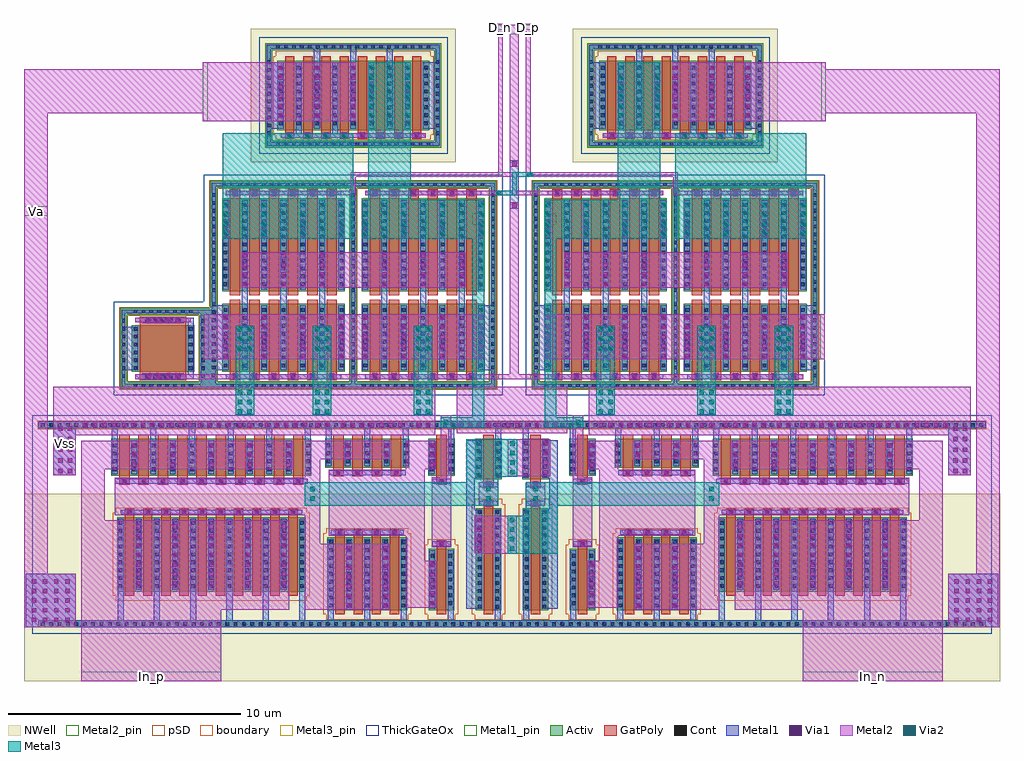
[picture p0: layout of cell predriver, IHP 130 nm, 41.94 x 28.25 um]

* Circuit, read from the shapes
.subckt predriver D_n D_p In_n In_p Iref Va Vss
XM1 In_p predriver_stage_3/dev_n_w1p75_l0p45_ng1_guard0_topc0_14/D Vss Vss sg13_hv_nmos w=1.6u l=0.45u m=10
XM2 Iref Iref Vss Vss sg13_hv_nmos w=2u l=2u
XM3 predriver_comp_1/dev_n_w4_l0p45_ng6_opens_botc0_1/B Iref Vss Vss sg13_hv_nmos w=2.92u l=0.45u m=12
XM4 predriver_comp_1/dev_n_w4_l0p45_ng6_opens_botc0_1/B D_n predriver_comp_1/dev_n_w4_l0p45_ng6_opens_botc0_1/D0 Vss sg13_hv_nmos w=4u l=0.45u m=6
XM5 predriver_stage_3/dev_n_w1p75_l0p45_ng1_guard0_topc0_14/D predriver_stage_3/dev_n_w1p6_l0p45_ng1_guard0_topc0_2/D Vss Vss sg13_hv_nmos w=1.25u l=0.45u m=4
XM6 predriver_comp_1/dev_n_w4_l0p45_ng6_opens_botc0_1/B D_p predriver_stage_3/In_p Vss sg13_hv_nmos w=4u l=0.45u m=6
XM7 Vss predriver_stage_3/In_p predriver_stage_3/dev_n_w1p6_l0p45_ng1_guard0_topc0_2/D Vss sg13_hv_nmos w=1.6u l=0.45u
XM8 Vss predriver_stage_3/dev_n_w1p75_l0p45_ng1_guard0_topc0_14/D predriver_stage_3/dev_n_w1p75_l0p45_ng1_guard0_topc0_15/D Vss sg13_hv_nmos w=1.75u l=0.45u
XM9 predriver_stage_3/dev_n_w1p75_l0p45_ng1_guard0_topc0_14/D predriver_stage_3/dev_n_w1p75_l0p45_ng1_guard0_topc0_15/D Vss Vss sg13_hv_nmos w=1.75u l=0.45u
XM10 predriver_comp_2/dev_n_w4_l0p45_ng6_opens_botc0_1/B Iref Vss Vss sg13_hv_nmos w=2.92u l=0.45u m=12
XM11 predriver_comp_2/dev_n_w4_l0p45_ng6_opens_botc0_1/B D_n predriver_stage_3/In_n Vss sg13_hv_nmos w=4u l=0.45u m=6
XM12 predriver_stage_3/dev_n_w1p6_l0p45_ng1_guard0_topc0_3/D predriver_stage_3/In_n Vss Vss sg13_hv_nmos w=1.6u l=0.45u
XM13 predriver_stage_3/dev_n_w1p75_l0p45_ng1_guard0_topc0_15/D predriver_stage_3/dev_n_w1p6_l0p45_ng1_guard0_topc0_3/D Vss Vss sg13_hv_nmos w=1.25u l=0.45u m=4
XM14 predriver_comp_2/dev_n_w4_l0p45_ng6_opens_botc0_1/B D_p predriver_comp_2/dev_n_w4_l0p45_ng6_opens_botc0_1/D0 Vss sg13_hv_nmos w=4u l=0.45u m=6
XM15 In_n predriver_stage_3/dev_n_w1p75_l0p45_ng1_guard0_topc0_15/D Vss Vss sg13_hv_nmos w=1.6u l=0.45u m=10
XM16 In_p predriver_stage_3/dev_n_w1p75_l0p45_ng1_guard0_topc0_14/D Va Va sg13_hv_pmos w=3.2u l=0.4u m=10
XM17 predriver_comp_1/dev_n_w4_l0p45_ng6_opens_botc0_1/D0 predriver_comp_1/dev_n_w4_l0p45_ng6_opens_botc0_1/D0 Va Va sg13_hv_pmos w=3u l=0.4u m=4
XM18 predriver_stage_3/dev_n_w1p75_l0p45_ng1_guard0_topc0_14/D predriver_stage_3/dev_n_w1p6_l0p45_ng1_guard0_topc0_2/D Va Va sg13_hv_pmos w=3.13u l=0.4u m=4
XM19 predriver_stage_3/In_p predriver_comp_1/dev_n_w4_l0p45_ng6_opens_botc0_1/D0 Va Va sg13_hv_pmos w=3u l=0.4u m=4
XM20 Va predriver_stage_3/In_p predriver_stage_3/dev_n_w1p6_l0p45_ng1_guard0_topc0_2/D Va sg13_hv_pmos w=2.64u l=0.4u
XM21 Va predriver_stage_3/dev_n_w1p75_l0p45_ng1_guard0_topc0_14/D predriver_stage_3/dev_n_w1p75_l0p45_ng1_guard0_topc0_15/D Va sg13_hv_pmos w=4.38u l=0.4u
XM22 predriver_stage_3/dev_n_w1p75_l0p45_ng1_guard0_topc0_14/D predriver_stage_3/dev_n_w1p75_l0p45_ng1_guard0_topc0_15/D Va Va sg13_hv_pmos w=4.38u l=0.4u
XM23 predriver_stage_3/dev_n_w1p6_l0p45_ng1_guard0_topc0_3/D predriver_stage_3/In_n Va Va sg13_hv_pmos w=2.64u l=0.4u
XM24 predriver_stage_3/In_n predriver_comp_2/dev_n_w4_l0p45_ng6_opens_botc0_1/D0 Va Va sg13_hv_pmos w=3u l=0.4u m=4
XM25 predriver_stage_3/dev_n_w1p75_l0p45_ng1_guard0_topc0_15/D predriver_stage_3/dev_n_w1p6_l0p45_ng1_guard0_topc0_3/D Va Va sg13_hv_pmos w=3.13u l=0.4u m=4
XM26 predriver_comp_2/dev_n_w4_l0p45_ng6_opens_botc0_1/D0 predriver_comp_2/dev_n_w4_l0p45_ng6_opens_botc0_1/D0 Va Va sg13_hv_pmos w=3u l=0.4u m=4
XM27 In_n predriver_stage_3/dev_n_w1p75_l0p45_ng1_guard0_topc0_15/D Va Va sg13_hv_pmos w=3.2u l=0.4u m=10
.ends

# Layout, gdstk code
from math import pi, radians
import gdstk
lib = gdstk.Library(unit=1e-6, precision=1e-09)
def R(c, l, rs):  # rectangles x0, y0, x1, y1
    for r in rs: c.add(gdstk.rectangle(r[:2], r[2:], *l))
def A(c, l, x, y, w, h, nx, ny, dx, dy):  # array of equal rectangles
    R(c, l, [(x+i*dx, y+j*dy, x+i*dx+w, y+j*dy+h) for i in range(nx) for j in range(ny)])
def P(c, l, *ps):  # polygons
    for p in ps: c.add(gdstk.Polygon(p, *l))
Activ = (1, 0)
GatPoly = (5, 0)
Cont = (6, 0)
Metal1 = (8, 0)
Metal1_pin = (8, 2)
Metal2 = (10, 0)
Metal2_pin = (10, 2)
pSD = (14, 0)
Via1 = (19, 0)
Via2 = (29, 0)
Metal3 = (30, 0)
Metal3_pin = (30, 2)
NWell = (31, 0)
ThickGateOx = (44, 0)
boundary = (189, 4)

dev_n_w2_l2_ng1 = lib.new_cell('dev_n_w2_l2_ng1')
R(dev_n_w2_l2_ng1, Activ, [(-1.85,-1.74,1.85,-1.44), (-1.85,-1.44,-1.55,1.44), (1.55,-1.44,1.85,1.44), (-1.34,-1,1.34,1), (-1.85,1.44,1.85,1.74)])
R(dev_n_w2_l2_ng1, GatPoly, [(-1,-1.37,1,1.37)])
A(dev_n_w2_l2_ng1, Cont, -1.27, -1.67, 0.16, 0.16, 8, 2, 0.34, 3.18)
A(dev_n_w2_l2_ng1, Cont, -0.76, -1.3, 0.16, 0.16, 5, 2, 0.34, 2.44)
A(dev_n_w2_l2_ng1, Cont, -1.78, -1.27, 0.16, 0.16, 1, 8, 0, 0.34)
A(dev_n_w2_l2_ng1, Cont, 1.62, -1.27, 0.16, 0.16, 1, 8, 0, 0.34)
A(dev_n_w2_l2_ng1, Cont, -1.27, -0.93, 0.16, 0.16, 1, 6, 0, 0.34)
A(dev_n_w2_l2_ng1, Cont, 1.11, -0.93, 0.16, 0.16, 1, 6, 0, 0.34)
R(dev_n_w2_l2_ng1, Metal1, [(-1.78,-1.67,1.78,-1.51), (-1.78,-1.51,-1.62,1.51), (1.62,-1.51,1.78,1.51), (-1.19,-1.325,1.19,-1.115), (-1.32,-0.93,-1.06,0.93), (1.06,-0.93,1.32,0.93), (-1.19,1.115,1.19,1.325), (-1.78,1.51,1.78,1.67)])
R(dev_n_w2_l2_ng1, Metal2, [(-0.89,-1.365,0.89,-1.32), (-1.19,-1.32,1.19,-1.12), (-0.89,-1.12,0.89,-1.075), (-0.89,1.075,0.89,1.12), (-1.19,1.12,1.19,1.32), (-0.89,1.32,0.89,1.365)])
R(dev_n_w2_l2_ng1, pSD, [(-1.88,-1.77,1.88,-1.41), (-1.88,-1.41,-1.52,1.41), (1.52,-1.41,1.88,1.41), (-1.88,1.41,1.88,1.77)])
A(dev_n_w2_l2_ng1, Via1, -0.71, -1.315, 0.19, 0.19, 4, 2, 0.41, 2.44)
R(dev_n_w2_l2_ng1, ThickGateOx, [(-2.12,-2.01,2.12,2.01)])
R(dev_n_w2_l2_ng1, boundary, [(-1.7,-1.59,1.7,1.59)])
dev_n_w2_l2_ng1.add(gdstk.Label('B', (0,-1.59), layer=8, texttype=25))
dev_n_w2_l2_ng1.add(gdstk.Label('D', (-1.19,0), layer=8, texttype=25))
dev_n_w2_l2_ng1.add(gdstk.Label('S', (1.19,0), layer=8, texttype=25))
dev_n_w2_l2_ng1.add(gdstk.Label('G', (0,1.22), layer=8, texttype=25))

dev_p_w3_l0p4_ng8_topc0 = lib.new_cell('dev_p_w3_l0p4_ng8_topc0')
R(dev_p_w3_l0p4_ng8_topc0, Activ, [(-3.78,-2.24,3.78,-1.94), (-3.78,-1.94,-3.48,1.94), (3.48,-1.94,3.78,1.94), (-3.27,-1.5,3.27,1.5), (-3.78,1.94,3.78,2.24)])
A(dev_p_w3_l0p4_ng8_topc0, GatPoly, -2.93, -1.87, 0.4, 3.55, 8, 1, 0.78, 0)
A(dev_p_w3_l0p4_ng8_topc0, Cont, -3.31, -2.17, 0.16, 0.16, 20, 2, 0.34, 4.18)
A(dev_p_w3_l0p4_ng8_topc0, Cont, -2.81, -1.8, 0.16, 0.16, 8, 1, 0.78, 0)
A(dev_p_w3_l0p4_ng8_topc0, Cont, -3.71, -1.705, 0.16, 0.16, 1, 10, 0, 0.34)
A(dev_p_w3_l0p4_ng8_topc0, Cont, 3.55, -1.705, 0.16, 0.16, 1, 10, 0, 0.34)
A(dev_p_w3_l0p4_ng8_topc0, Cont, -3.2, -1.27, 0.16, 0.16, 9, 8, 0.78, 0.34)
A(dev_p_w3_l0p4_ng8_topc0, Metal1, -3.25, -1.43, 0.26, 2.86, 9, 1, 0.78, 0)
R(dev_p_w3_l0p4_ng8_topc0, Metal1, [(-3.71,-2.17,3.71,-2.01), (-3.71,-2.01,-3.55,2.01), (3.55,-2.01,3.71,2.01), (-3.12,-1.825,3.12,-1.615), (-3.71,2.01,3.71,2.17)])
A(dev_p_w3_l0p4_ng8_topc0, Metal2, -2.86, -1.865, 0.26, 0.045, 8, 2, 0.78, 0.245)
R(dev_p_w3_l0p4_ng8_topc0, Metal2, [(-3.12,-1.82,3.12,-1.62)])
R(dev_p_w3_l0p4_ng8_topc0, pSD, [(-3.33,-1.9,3.33,-1.68), (-3.45,-1.68,3.45,1.68), (-3.33,1.68,3.33,1.9)])
A(dev_p_w3_l0p4_ng8_topc0, Via1, -2.825, -1.815, 0.19, 0.19, 8, 1, 0.78, 0)
R(dev_p_w3_l0p4_ng8_topc0, NWell, [(-4.4,-2.86,4.4,2.86)])
R(dev_p_w3_l0p4_ng8_topc0, ThickGateOx, [(-4.05,-2.51,4.05,2.51)])
dev_p_w3_l0p4_ng8_topc0.add(gdstk.Label('B', (0,-2.09), layer=8, texttype=25))
dev_p_w3_l0p4_ng8_topc0.add(gdstk.Label('D0', (-3.12,0), layer=8, texttype=25))
dev_p_w3_l0p4_ng8_topc0.add(gdstk.Label('G', (2.73,-1.72), layer=8, texttype=25))
dev_p_w3_l0p4_ng8_topc0.add(gdstk.Label('G', (1.95,-1.72), layer=8, texttype=25))
dev_p_w3_l0p4_ng8_topc0.add(gdstk.Label('G', (1.17,-1.72), layer=8, texttype=25))
dev_p_w3_l0p4_ng8_topc0.add(gdstk.Label('G', (0.39,-1.72), layer=8, texttype=25))
dev_p_w3_l0p4_ng8_topc0.add(gdstk.Label('G', (-0.39,-1.72), layer=8, texttype=25))
dev_p_w3_l0p4_ng8_topc0.add(gdstk.Label('G', (-1.17,-1.72), layer=8, texttype=25))
dev_p_w3_l0p4_ng8_topc0.add(gdstk.Label('G', (-1.95,-1.72), layer=8, texttype=25))
dev_p_w3_l0p4_ng8_topc0.add(gdstk.Label('G', (-2.73,-1.72), layer=8, texttype=25))
dev_p_w3_l0p4_ng8_topc0.add(gdstk.Label('S1', (-2.34,0), layer=8, texttype=25))
dev_p_w3_l0p4_ng8_topc0.add(gdstk.Label('D2', (-1.56,0), layer=8, texttype=25))
dev_p_w3_l0p4_ng8_topc0.add(gdstk.Label('S3', (-0.78,0), layer=8, texttype=25))
dev_p_w3_l0p4_ng8_topc0.add(gdstk.Label('D4', (0,0), layer=8, texttype=25))
dev_p_w3_l0p4_ng8_topc0.add(gdstk.Label('S5', (0.78,0), layer=8, texttype=25))
dev_p_w3_l0p4_ng8_topc0.add(gdstk.Label('D6', (1.56,0), layer=8, texttype=25))
dev_p_w3_l0p4_ng8_topc0.add(gdstk.Label('S7', (2.34,0), layer=8, texttype=25))

dev_n_w4_l0p45_ng6_opens = lib.new_cell('dev_n_w4_l0p45_ng6_opens_botc0')
R(dev_n_w4_l0p45_ng6_opens, Activ, [(-3.15,-2.44,-2.85,2.44), (2.85,-2.44,3.15,2.44), (-2.64,-2,2.64,2), (-3.15,2.44,3.15,2.74)])
A(dev_n_w4_l0p45_ng6_opens, GatPoly, -2.3, -2.18, 0.45, 4.55, 6, 1, 0.83, 0)
A(dev_n_w4_l0p45_ng6_opens, Cont, -3.08, -2.025, 0.16, 0.16, 1, 13, 0, 0.34)
A(dev_n_w4_l0p45_ng6_opens, Cont, 2.92, -2.025, 0.16, 0.16, 1, 13, 0, 0.34)
A(dev_n_w4_l0p45_ng6_opens, Cont, -2.57, -1.78, 0.16, 0.16, 7, 11, 0.83, 0.34)
A(dev_n_w4_l0p45_ng6_opens, Cont, -2.155, 2.14, 0.16, 0.16, 6, 1, 0.83, 0)
A(dev_n_w4_l0p45_ng6_opens, Cont, -2.63, 2.51, 0.16, 0.16, 16, 1, 0.34, 0)
A(dev_n_w4_l0p45_ng6_opens, Metal1, -2.62, -1.93, 0.26, 3.86, 7, 1, 0.83, 0)
R(dev_n_w4_l0p45_ng6_opens, Metal1, [(-3.08,-2.44,-2.92,2.51), (2.92,-2.44,3.08,2.51), (-2.49,2.115,2.49,2.325), (-3.08,2.51,3.08,2.67)])
A(dev_n_w4_l0p45_ng6_opens, Metal2, -2.19, 2.075, 0.23, 0.045, 6, 2, 0.83, 0.245)
R(dev_n_w4_l0p45_ng6_opens, Metal2, [(-2.49,2.12,2.49,2.32)])
R(dev_n_w4_l0p45_ng6_opens, pSD, [(-3.18,-2.47,-2.82,2.41), (2.82,-2.47,3.18,2.41), (-3.18,2.41,3.18,2.77)])
A(dev_n_w4_l0p45_ng6_opens, Via1, -2.17, 2.125, 0.19, 0.19, 6, 1, 0.83, 0)
R(dev_n_w4_l0p45_ng6_opens, ThickGateOx, [(-3.43,-2.855,-2.57,-2.27), (2.57,-2.855,3.43,-2.27), (-3.43,-2.27,3.43,-1.995), (-3.42,-1.995,3.42,3.01)])
dev_n_w4_l0p45_ng6_opens.add(gdstk.Label('B', (0,-2.59), layer=8, texttype=25))
dev_n_w4_l0p45_ng6_opens.add(gdstk.Label('D0', (-2.49,0), layer=8, texttype=25))
dev_n_w4_l0p45_ng6_opens.add(gdstk.Label('G', (2.075,2.22), layer=8, texttype=25))
dev_n_w4_l0p45_ng6_opens.add(gdstk.Label('G', (1.245,2.22), layer=8, texttype=25))
dev_n_w4_l0p45_ng6_opens.add(gdstk.Label('G', (0.415,2.22), layer=8, texttype=25))
dev_n_w4_l0p45_ng6_opens.add(gdstk.Label('G', (-0.415,2.22), layer=8, texttype=25))
dev_n_w4_l0p45_ng6_opens.add(gdstk.Label('G', (-1.245,2.22), layer=8, texttype=25))
dev_n_w4_l0p45_ng6_opens.add(gdstk.Label('G', (-2.075,2.22), layer=8, texttype=25))
dev_n_w4_l0p45_ng6_opens.add(gdstk.Label('S1', (-1.66,0), layer=8, texttype=25))
dev_n_w4_l0p45_ng6_opens.add(gdstk.Label('D2', (-0.83,0), layer=8, texttype=25))
dev_n_w4_l0p45_ng6_opens.add(gdstk.Label('S3', (0,0), layer=8, texttype=25))
dev_n_w4_l0p45_ng6_opens.add(gdstk.Label('D4', (0.83,0), layer=8, texttype=25))
dev_n_w4_l0p45_ng6_opens.add(gdstk.Label('S5', (1.66,0), layer=8, texttype=25))

dev_n_w2p92_l0p45_ng6_op = lib.new_cell('dev_n_w2p92_l0p45_ng6_openn_topc0')
R(dev_n_w2p92_l0p45_ng6_op, Activ, [(-3.15,-2.2,3.15,-1.9), (-3.15,-1.9,-2.85,1.9), (2.85,-1.9,3.15,1.9), (-2.64,-1.46,2.64,1.46)])
A(dev_n_w2p92_l0p45_ng6_op, GatPoly, -2.3, -1.83, 0.45, 3.47, 6, 1, 0.83, 0)
A(dev_n_w2p92_l0p45_ng6_op, Cont, -2.63, -2.13, 0.16, 0.16, 16, 1, 0.34, 0)
A(dev_n_w2p92_l0p45_ng6_op, Cont, -2.155, -1.76, 0.16, 0.16, 6, 1, 0.83, 0)
A(dev_n_w2p92_l0p45_ng6_op, Cont, -3.08, -1.705, 0.16, 0.16, 1, 10, 0, 0.34)
A(dev_n_w2p92_l0p45_ng6_op, Cont, 2.92, -1.705, 0.16, 0.16, 1, 10, 0, 0.34)
A(dev_n_w2p92_l0p45_ng6_op, Cont, -2.57, -1.27, 0.16, 0.16, 7, 8, 0.83, 0.34)
A(dev_n_w2p92_l0p45_ng6_op, Metal1, -2.62, -1.39, 0.26, 2.78, 7, 1, 0.83, 0)
R(dev_n_w2p92_l0p45_ng6_op, Metal1, [(-3.08,-2.13,3.08,-1.97), (-3.08,-1.97,-2.92,1.9), (2.92,-1.97,3.08,1.9), (-2.49,-1.785,2.49,-1.575)])
A(dev_n_w2p92_l0p45_ng6_op, Metal2, -2.19, -1.825, 0.23, 0.045, 6, 2, 0.83, 0.245)
R(dev_n_w2p92_l0p45_ng6_op, Metal2, [(-2.49,-1.78,2.49,-1.58)])
R(dev_n_w2p92_l0p45_ng6_op, pSD, [(-3.18,-2.23,3.18,-1.87), (-3.18,-1.87,-2.82,1.93), (2.82,-1.87,3.18,1.93)])
A(dev_n_w2p92_l0p45_ng6_op, Via1, -2.17, -1.775, 0.19, 0.19, 6, 1, 0.83, 0)
R(dev_n_w2p92_l0p45_ng6_op, ThickGateOx, [(-3.42,-2.47,3.42,1.455), (-3.43,1.455,3.43,1.73), (-3.43,1.73,-2.57,2.315), (2.57,1.73,3.43,2.315)])
dev_n_w2p92_l0p45_ng6_op.add(gdstk.Label('B', (0,-2.05), layer=8, texttype=25))
dev_n_w2p92_l0p45_ng6_op.add(gdstk.Label('D0', (-2.49,0), layer=8, texttype=25))
dev_n_w2p92_l0p45_ng6_op.add(gdstk.Label('G', (2.075,-1.68), layer=8, texttype=25))
dev_n_w2p92_l0p45_ng6_op.add(gdstk.Label('G', (1.245,-1.68), layer=8, texttype=25))
dev_n_w2p92_l0p45_ng6_op.add(gdstk.Label('G', (0.415,-1.68), layer=8, texttype=25))
dev_n_w2p92_l0p45_ng6_op.add(gdstk.Label('G', (-0.415,-1.68), layer=8, texttype=25))
dev_n_w2p92_l0p45_ng6_op.add(gdstk.Label('G', (-1.245,-1.68), layer=8, texttype=25))
dev_n_w2p92_l0p45_ng6_op.add(gdstk.Label('G', (-2.075,-1.68), layer=8, texttype=25))
dev_n_w2p92_l0p45_ng6_op.add(gdstk.Label('S1', (-1.66,0), layer=8, texttype=25))
dev_n_w2p92_l0p45_ng6_op.add(gdstk.Label('D2', (-0.83,0), layer=8, texttype=25))
dev_n_w2p92_l0p45_ng6_op.add(gdstk.Label('S3', (0,0), layer=8, texttype=25))
dev_n_w2p92_l0p45_ng6_op.add(gdstk.Label('D4', (0.83,0), layer=8, texttype=25))
dev_n_w2p92_l0p45_ng6_op.add(gdstk.Label('S5', (1.66,0), layer=8, texttype=25))

predriver_comp = lib.new_cell('predriver_comp')
A(predriver_comp, Metal1, 1.67, 3.9, 0.26, 0.68, 3, 1, 1.66, 0)
A(predriver_comp, Metal1, 7.67, 3.9, 0.26, 0.68, 3, 1, 1.66, 0)
A(predriver_comp, Metal1, 4.77, 14.35, 0.26, 0.58, 3, 1, 1.56, 0)
R(predriver_comp, Metal1, [(0.54,1.12,0.84,3.9), (12.08,1.12,12.38,3.9), (3.99,11.305,4.25,11.49), (5.55,11.305,5.81,11.49), (2.91,11.49,3.21,14.35), (9.71,11.49,10.01,14.35)])
A(predriver_comp, Metal2, 0.84, 6.805, 0.26, 1.6, 4, 1, 1.66, 0)
A(predriver_comp, Metal2, 6.84, 6.805, 0.26, 1.6, 3, 1, 1.66, 0)
R(predriver_comp, Metal2, [(5.95,0.73,6.97,0.93), (0.04,1.585,0.825,3.515), (0.825,1.585,12.095,3.515), (1.655,4.665,11.265,6.185), (11.82,6.83,12.08,8.38), (0,11.82,2.41,14.355), (2.41,11.82,6.59,14.35), (7.11,11.82,7.37,14.35), (8.67,11.82,8.93,14.35)])
R(predriver_comp, Metal2_pin, [(12.68,0.73,12.88,0.93), (0.04,1.585,0.24,3.515), (12.68,8.63,12.88,8.83), (12.68,9.42,12.88,9.62), (0,11.82,0.2,14.35)])
A(predriver_comp, Via1, 0.875, 1.635, 0.19, 0.19, 4, 5, 1.66, 0.41)
A(predriver_comp, Via1, 6.875, 1.635, 0.19, 0.19, 4, 5, 1.66, 0.41)
A(predriver_comp, Via1, 1.705, 4.715, 0.19, 0.19, 3, 4, 1.66, 0.41)
A(predriver_comp, Via1, 7.705, 4.715, 0.19, 0.19, 3, 4, 1.66, 0.41)
A(predriver_comp, Via1, 0.875, 6.885, 0.19, 0.19, 4, 4, 1.66, 0.41)
A(predriver_comp, Via1, 6.875, 6.885, 0.19, 0.19, 4, 4, 1.66, 0.41)
A(predriver_comp, Via1, 3.245, 11.965, 0.19, 0.19, 3, 6, 1.56, 0.41)
A(predriver_comp, Via1, 7.145, 11.965, 0.19, 0.19, 1, 6, 0, 0.41)
A(predriver_comp, Via1, 8.705, 11.965, 0.19, 0.19, 1, 6, 0, 0.41)
A(predriver_comp, Via2, 0.875, 6.885, 0.19, 0.19, 4, 4, 1.66, 0.41)
A(predriver_comp, Via2, 6.875, 6.885, 0.19, 0.19, 4, 4, 1.66, 0.41)
A(predriver_comp, Via2, 3.635, 11.105, 0.19, 0.19, 4, 1, 0.78, 0)
A(predriver_comp, Via2, 7.145, 11.965, 0.19, 0.19, 1, 6, 0, 0.41)
A(predriver_comp, Via2, 8.705, 11.965, 0.19, 0.19, 1, 6, 0, 0.41)
R(predriver_comp, Metal3, [(0.84,6.77,6.455,11.3), (6.84,6.77,12.08,8.44), (7.11,8.28,8.93,11.82), (7.11,11.82,8.93,14.35)])
R(predriver_comp, Metal3_pin, [(11.58,7.355,12.08,7.855)])
predriver_comp.add(gdstk.FlexPath([(5.95,8.73),(6.46,8.73),(6.46,9.52),(12.88,9.52),(12.88,9.52)], 0.2, ends="flush", simple_path=True, layer=10, datatype=0))  # Metal2
predriver_comp.add(gdstk.FlexPath([(11.95,8.73),(12.88,8.73)], 0.2, ends="flush", simple_path=True, layer=10, datatype=0))  # Metal2
predriver_comp.add(gdstk.FlexPath([(11.95,0.83),(12.88,0.83)], 0.2, ends="flush", simple_path=True, layer=10, datatype=0))  # Metal2
predriver_comp.add(gdstk.Reference(dev_p_w3_l0p4_ng8_topc0, (6.46,12.92)))
predriver_comp.add(gdstk.Reference(dev_n_w4_l0p45_ng6_opens, (3.46,6.51)))
predriver_comp.add(gdstk.Reference(dev_n_w4_l0p45_ng6_opens, (9.46,6.51), rotation=pi, x_reflection=True))
predriver_comp.add(gdstk.Reference(dev_n_w2p92_l0p45_ng6_op, (3.46,2.51)))
predriver_comp.add(gdstk.Reference(dev_n_w2p92_l0p45_ng6_op, (9.46,2.51), rotation=pi, x_reflection=True))
predriver_comp.add(gdstk.Label('Din', (12.78,9.52), layer=10, texttype=25))
predriver_comp.add(gdstk.Label('Gin', (12.78,8.73), layer=10, texttype=25))
predriver_comp.add(gdstk.Label('Iref', (12.78,0.83), layer=10, texttype=25))
predriver_comp.add(gdstk.Label('Va', (0.1,13.085), layer=10, texttype=25))
predriver_comp.add(gdstk.Label('Vss', (0.14,2.55), layer=10, texttype=25))
predriver_comp.add(gdstk.Label('Out', (11.83,7.605), layer=30, texttype=25))

dev_p_w2p64_l0p4_ng1_bot = lib.new_cell('dev_p_w2p64_l0p4_ng1_botc0_guard0')
R(dev_p_w2p64_l0p4_ng1_bot, Activ, [(-0.54,-1.415,0.54,1.225)])
R(dev_p_w2p64_l0p4_ng1_bot, GatPoly, [(-0.2,-1.595,0.2,1.595)])
A(dev_p_w2p64_l0p4_ng1_bot, Cont, -0.47, -1.195, 0.16, 0.16, 1, 7, 0, 0.34)
A(dev_p_w2p64_l0p4_ng1_bot, Cont, 0.31, -1.195, 0.16, 0.16, 1, 7, 0, 0.34)
R(dev_p_w2p64_l0p4_ng1_bot, Cont, [(-0.08,1.365,0.08,1.525)])
R(dev_p_w2p64_l0p4_ng1_bot, Metal1, [(-0.52,-1.345,-0.26,1.155), (0.26,-1.345,0.52,1.155), (-0.39,1.34,0.39,1.55)])
R(dev_p_w2p64_l0p4_ng1_bot, Metal2, [(-0.13,1.3,0.13,1.345), (-0.39,1.345,0.39,1.545), (-0.13,1.545,0.13,1.59)])
R(dev_p_w2p64_l0p4_ng1_bot, pSD, [(-0.6,-1.815,0.6,-1.595), (-0.72,-1.595,0.72,1.405), (-0.6,1.405,0.6,1.625)])
R(dev_p_w2p64_l0p4_ng1_bot, Via1, [(-0.095,1.35,0.095,1.54)])
R(dev_p_w2p64_l0p4_ng1_bot, NWell, [(-1.16,-2.035,1.16,1.845)])
R(dev_p_w2p64_l0p4_ng1_bot, ThickGateOx, [(-0.81,-1.685,0.81,1.495)])
dev_p_w2p64_l0p4_ng1_bot.add(gdstk.Label('D', (-0.39,-0.095), layer=8, texttype=25))
dev_p_w2p64_l0p4_ng1_bot.add(gdstk.Label('S', (0.39,-0.095), layer=8, texttype=25))
dev_p_w2p64_l0p4_ng1_bot.add(gdstk.Label('G', (0,1.445), layer=8, texttype=25))

dev_n_w1p6_l0p45_ng1_gua = lib.new_cell('dev_n_w1p6_l0p45_ng1_guard0_topc0')
R(dev_n_w1p6_l0p45_ng1_gua, Activ, [(-0.565,-0.705,0.565,0.895)])
R(dev_n_w1p6_l0p45_ng1_gua, GatPoly, [(-0.225,-1.075,0.225,1.075)])
A(dev_n_w1p6_l0p45_ng1_gua, Cont, -0.495, -0.495, 0.16, 0.16, 1, 4, 0, 0.34)
A(dev_n_w1p6_l0p45_ng1_gua, Cont, 0.335, -0.495, 0.16, 0.16, 1, 4, 0, 0.34)
R(dev_n_w1p6_l0p45_ng1_gua, Cont, [(-0.08,-1.005,0.08,-0.845)])
R(dev_n_w1p6_l0p45_ng1_gua, Metal1, [(-0.415,-1.03,0.415,-0.82), (-0.545,-0.635,-0.285,0.825), (0.285,-0.635,0.545,0.825)])
R(dev_n_w1p6_l0p45_ng1_gua, Metal2, [(-0.115,-1.07,0.115,-1.025), (-0.415,-1.025,0.415,-0.825), (-0.115,-0.825,0.115,-0.78)])
R(dev_n_w1p6_l0p45_ng1_gua, Via1, [(-0.095,-1.02,0.095,-0.83)])
R(dev_n_w1p6_l0p45_ng1_gua, ThickGateOx, [(-0.835,-0.975,0.835,1.165)])
dev_n_w1p6_l0p45_ng1_gua.add(gdstk.Label('D', (-0.415,0.095), layer=8, texttype=25))
dev_n_w1p6_l0p45_ng1_gua.add(gdstk.Label('S', (0.415,0.095), layer=8, texttype=25))
dev_n_w1p6_l0p45_ng1_gua.add(gdstk.Label('G', (0,-0.925), layer=8, texttype=25))

dev_p_w3p13_l0p4_ng4_bot = lib.new_cell('dev_p_w3p13_l0p4_ng4_botc0_guard0')
R(dev_p_w3p13_l0p4_ng4_bot, Activ, [(-1.71,-1.66,1.71,1.47)])
A(dev_p_w3p13_l0p4_ng4_bot, GatPoly, -1.37, -1.84, 0.4, 3.68, 4, 1, 0.78, 0)
A(dev_p_w3p13_l0p4_ng4_bot, Cont, -1.64, -1.535, 0.16, 0.16, 5, 9, 0.78, 0.34)
A(dev_p_w3p13_l0p4_ng4_bot, Cont, -1.25, 1.61, 0.16, 0.16, 4, 1, 0.78, 0)
A(dev_p_w3p13_l0p4_ng4_bot, Metal1, -1.69, -1.59, 0.26, 2.99, 5, 1, 0.78, 0)
R(dev_p_w3p13_l0p4_ng4_bot, Metal1, [(-1.56,1.585,1.56,1.795)])
A(dev_p_w3p13_l0p4_ng4_bot, Metal2, -1.3, 1.545, 0.26, 0.045, 4, 2, 0.78, 0.245)
R(dev_p_w3p13_l0p4_ng4_bot, Metal2, [(-1.56,1.59,1.56,1.79)])
R(dev_p_w3p13_l0p4_ng4_bot, pSD, [(-1.77,-2.06,1.77,-1.84), (-1.89,-1.84,1.89,1.65), (-1.77,1.65,1.77,1.87)])
A(dev_p_w3p13_l0p4_ng4_bot, Via1, -1.265, 1.595, 0.19, 0.19, 4, 1, 0.78, 0)
R(dev_p_w3p13_l0p4_ng4_bot, NWell, [(-2.33,-2.28,2.33,2.09)])
R(dev_p_w3p13_l0p4_ng4_bot, ThickGateOx, [(-1.98,-1.93,1.98,1.74)])
dev_p_w3p13_l0p4_ng4_bot.add(gdstk.Label('D0', (-1.56,-0.095), layer=8, texttype=25))
dev_p_w3p13_l0p4_ng4_bot.add(gdstk.Label('G', (1.17,1.69), layer=8, texttype=25))
dev_p_w3p13_l0p4_ng4_bot.add(gdstk.Label('G', (0.39,1.69), layer=8, texttype=25))
dev_p_w3p13_l0p4_ng4_bot.add(gdstk.Label('G', (-0.39,1.69), layer=8, texttype=25))
dev_p_w3p13_l0p4_ng4_bot.add(gdstk.Label('G', (-1.17,1.69), layer=8, texttype=25))
dev_p_w3p13_l0p4_ng4_bot.add(gdstk.Label('S1', (-0.78,-0.095), layer=8, texttype=25))
dev_p_w3p13_l0p4_ng4_bot.add(gdstk.Label('D2', (0,-0.095), layer=8, texttype=25))
dev_p_w3p13_l0p4_ng4_bot.add(gdstk.Label('S3', (0.78,-0.095), layer=8, texttype=25))

dev_n_w1p25_l0p45_ng4_gu = lib.new_cell('dev_n_w1p25_l0p45_ng4_guard0_topc0')
R(dev_n_w1p25_l0p45_ng4_gu, Activ, [(-1.81,-0.53,1.81,0.72)])
A(dev_n_w1p25_l0p45_ng4_gu, GatPoly, -1.47, -0.9, 0.45, 1.8, 4, 1, 0.83, 0)
A(dev_n_w1p25_l0p45_ng4_gu, Cont, -1.325, -0.83, 0.16, 0.16, 4, 1, 0.83, 0)
A(dev_n_w1p25_l0p45_ng4_gu, Cont, -1.74, -0.325, 0.16, 0.16, 5, 3, 0.83, 0.34)
A(dev_n_w1p25_l0p45_ng4_gu, Metal1, -1.79, -0.46, 0.26, 1.11, 5, 1, 0.83, 0)
R(dev_n_w1p25_l0p45_ng4_gu, Metal1, [(-1.66,-0.855,1.66,-0.645)])
A(dev_n_w1p25_l0p45_ng4_gu, Metal2, -1.36, -0.895, 0.23, 0.045, 4, 2, 0.83, 0.245)
R(dev_n_w1p25_l0p45_ng4_gu, Metal2, [(-1.66,-0.85,1.66,-0.65)])
A(dev_n_w1p25_l0p45_ng4_gu, Via1, -1.34, -0.845, 0.19, 0.19, 4, 1, 0.83, 0)
R(dev_n_w1p25_l0p45_ng4_gu, ThickGateOx, [(-2.08,-0.8,2.08,0.99)])
dev_n_w1p25_l0p45_ng4_gu.add(gdstk.Label('D0', (-1.66,0.095), layer=8, texttype=25))
dev_n_w1p25_l0p45_ng4_gu.add(gdstk.Label('G', (1.245,-0.75), layer=8, texttype=25))
dev_n_w1p25_l0p45_ng4_gu.add(gdstk.Label('G', (0.415,-0.75), layer=8, texttype=25))
dev_n_w1p25_l0p45_ng4_gu.add(gdstk.Label('G', (-0.415,-0.75), layer=8, texttype=25))
dev_n_w1p25_l0p45_ng4_gu.add(gdstk.Label('G', (-1.245,-0.75), layer=8, texttype=25))
dev_n_w1p25_l0p45_ng4_gu.add(gdstk.Label('S1', (-0.83,0.095), layer=8, texttype=25))
dev_n_w1p25_l0p45_ng4_gu.add(gdstk.Label('D2', (0,0.095), layer=8, texttype=25))
dev_n_w1p25_l0p45_ng4_gu.add(gdstk.Label('S3', (0.83,0.095), layer=8, texttype=25))

dev_p_w3p2_l0p4_ng10_bot = lib.new_cell('dev_p_w3p2_l0p4_ng10_botc0_guard0')
R(dev_p_w3p2_l0p4_ng10_bot, Activ, [(-4.05,-1.695,4.05,1.505)])
A(dev_p_w3p2_l0p4_ng10_bot, GatPoly, -3.71, -1.875, 0.4, 3.75, 10, 1, 0.78, 0)
A(dev_p_w3p2_l0p4_ng10_bot, Cont, -3.98, -1.535, 0.16, 0.16, 11, 9, 0.78, 0.34)
A(dev_p_w3p2_l0p4_ng10_bot, Cont, -3.59, 1.645, 0.16, 0.16, 10, 1, 0.78, 0)
A(dev_p_w3p2_l0p4_ng10_bot, Metal1, -4.03, -1.625, 0.26, 3.06, 11, 1, 0.78, 0)
R(dev_p_w3p2_l0p4_ng10_bot, Metal1, [(-3.9,1.62,3.9,1.83)])
A(dev_p_w3p2_l0p4_ng10_bot, Metal2, -3.64, 1.58, 0.26, 0.045, 10, 2, 0.78, 0.245)
R(dev_p_w3p2_l0p4_ng10_bot, Metal2, [(-3.9,1.625,3.9,1.825)])
R(dev_p_w3p2_l0p4_ng10_bot, pSD, [(-4.11,-2.095,4.11,-1.875), (-4.23,-1.875,4.23,1.685), (-4.11,1.685,4.11,1.905)])
A(dev_p_w3p2_l0p4_ng10_bot, Via1, -3.605, 1.63, 0.19, 0.19, 10, 1, 0.78, 0)
R(dev_p_w3p2_l0p4_ng10_bot, NWell, [(-4.67,-2.315,4.67,2.125)])
R(dev_p_w3p2_l0p4_ng10_bot, ThickGateOx, [(-4.32,-1.965,4.32,1.775)])
dev_p_w3p2_l0p4_ng10_bot.add(gdstk.Label('D0', (-3.9,-0.095), layer=8, texttype=25))
dev_p_w3p2_l0p4_ng10_bot.add(gdstk.Label('G', (3.51,1.725), layer=8, texttype=25))
dev_p_w3p2_l0p4_ng10_bot.add(gdstk.Label('G', (2.73,1.725), layer=8, texttype=25))
dev_p_w3p2_l0p4_ng10_bot.add(gdstk.Label('G', (1.95,1.725), layer=8, texttype=25))
dev_p_w3p2_l0p4_ng10_bot.add(gdstk.Label('G', (1.17,1.725), layer=8, texttype=25))
dev_p_w3p2_l0p4_ng10_bot.add(gdstk.Label('G', (0.39,1.725), layer=8, texttype=25))
dev_p_w3p2_l0p4_ng10_bot.add(gdstk.Label('G', (-0.39,1.725), layer=8, texttype=25))
dev_p_w3p2_l0p4_ng10_bot.add(gdstk.Label('G', (-1.17,1.725), layer=8, texttype=25))
dev_p_w3p2_l0p4_ng10_bot.add(gdstk.Label('G', (-1.95,1.725), layer=8, texttype=25))
dev_p_w3p2_l0p4_ng10_bot.add(gdstk.Label('G', (-2.73,1.725), layer=8, texttype=25))
dev_p_w3p2_l0p4_ng10_bot.add(gdstk.Label('G', (-3.51,1.725), layer=8, texttype=25))
dev_p_w3p2_l0p4_ng10_bot.add(gdstk.Label('S1', (-3.12,-0.095), layer=8, texttype=25))
dev_p_w3p2_l0p4_ng10_bot.add(gdstk.Label('D2', (-2.34,-0.095), layer=8, texttype=25))
dev_p_w3p2_l0p4_ng10_bot.add(gdstk.Label('S3', (-1.56,-0.095), layer=8, texttype=25))
dev_p_w3p2_l0p4_ng10_bot.add(gdstk.Label('D4', (-0.78,-0.095), layer=8, texttype=25))
dev_p_w3p2_l0p4_ng10_bot.add(gdstk.Label('S5', (0,-0.095), layer=8, texttype=25))
dev_p_w3p2_l0p4_ng10_bot.add(gdstk.Label('D6', (0.78,-0.095), layer=8, texttype=25))
dev_p_w3p2_l0p4_ng10_bot.add(gdstk.Label('S7', (1.56,-0.095), layer=8, texttype=25))
dev_p_w3p2_l0p4_ng10_bot.add(gdstk.Label('D8', (2.34,-0.095), layer=8, texttype=25))
dev_p_w3p2_l0p4_ng10_bot.add(gdstk.Label('S9', (3.12,-0.095), layer=8, texttype=25))

dev_n_w1p6_l0p45_ng10_gu = lib.new_cell('dev_n_w1p6_l0p45_ng10_guard0_topc0')
R(dev_n_w1p6_l0p45_ng10_gu, Activ, [(-4.3,-0.705,4.3,0.895)])
A(dev_n_w1p6_l0p45_ng10_gu, GatPoly, -3.96, -1.075, 0.45, 2.15, 10, 1, 0.83, 0)
A(dev_n_w1p6_l0p45_ng10_gu, Cont, -3.815, -1.005, 0.16, 0.16, 10, 1, 0.83, 0)
A(dev_n_w1p6_l0p45_ng10_gu, Cont, -4.23, -0.495, 0.16, 0.16, 11, 4, 0.83, 0.34)
A(dev_n_w1p6_l0p45_ng10_gu, Metal1, -4.28, -0.635, 0.26, 1.46, 11, 1, 0.83, 0)
R(dev_n_w1p6_l0p45_ng10_gu, Metal1, [(-4.15,-1.03,4.15,-0.82)])
A(dev_n_w1p6_l0p45_ng10_gu, Metal2, -3.85, -1.07, 0.23, 0.045, 10, 2, 0.83, 0.245)
R(dev_n_w1p6_l0p45_ng10_gu, Metal2, [(-4.15,-1.025,4.15,-0.825)])
A(dev_n_w1p6_l0p45_ng10_gu, Via1, -3.83, -1.02, 0.19, 0.19, 10, 1, 0.83, 0)
R(dev_n_w1p6_l0p45_ng10_gu, ThickGateOx, [(-4.57,-0.975,4.57,1.165)])
dev_n_w1p6_l0p45_ng10_gu.add(gdstk.Label('D0', (-4.15,0.095), layer=8, texttype=25))
dev_n_w1p6_l0p45_ng10_gu.add(gdstk.Label('G', (3.735,-0.925), layer=8, texttype=25))
dev_n_w1p6_l0p45_ng10_gu.add(gdstk.Label('G', (2.905,-0.925), layer=8, texttype=25))
dev_n_w1p6_l0p45_ng10_gu.add(gdstk.Label('G', (2.075,-0.925), layer=8, texttype=25))
dev_n_w1p6_l0p45_ng10_gu.add(gdstk.Label('G', (1.245,-0.925), layer=8, texttype=25))
dev_n_w1p6_l0p45_ng10_gu.add(gdstk.Label('G', (0.415,-0.925), layer=8, texttype=25))
dev_n_w1p6_l0p45_ng10_gu.add(gdstk.Label('G', (-0.415,-0.925), layer=8, texttype=25))
dev_n_w1p6_l0p45_ng10_gu.add(gdstk.Label('G', (-1.245,-0.925), layer=8, texttype=25))
dev_n_w1p6_l0p45_ng10_gu.add(gdstk.Label('G', (-2.075,-0.925), layer=8, texttype=25))
dev_n_w1p6_l0p45_ng10_gu.add(gdstk.Label('G', (-2.905,-0.925), layer=8, texttype=25))
dev_n_w1p6_l0p45_ng10_gu.add(gdstk.Label('G', (-3.735,-0.925), layer=8, texttype=25))
dev_n_w1p6_l0p45_ng10_gu.add(gdstk.Label('S1', (-3.32,0.095), layer=8, texttype=25))
dev_n_w1p6_l0p45_ng10_gu.add(gdstk.Label('D2', (-2.49,0.095), layer=8, texttype=25))
dev_n_w1p6_l0p45_ng10_gu.add(gdstk.Label('S3', (-1.66,0.095), layer=8, texttype=25))
dev_n_w1p6_l0p45_ng10_gu.add(gdstk.Label('D4', (-0.83,0.095), layer=8, texttype=25))
dev_n_w1p6_l0p45_ng10_gu.add(gdstk.Label('S5', (0,0.095), layer=8, texttype=25))
dev_n_w1p6_l0p45_ng10_gu.add(gdstk.Label('D6', (0.83,0.095), layer=8, texttype=25))
dev_n_w1p6_l0p45_ng10_gu.add(gdstk.Label('S7', (1.66,0.095), layer=8, texttype=25))
dev_n_w1p6_l0p45_ng10_gu.add(gdstk.Label('D8', (2.49,0.095), layer=8, texttype=25))
dev_n_w1p6_l0p45_ng10_gu.add(gdstk.Label('S9', (3.32,0.095), layer=8, texttype=25))

dev_p_w4p38_l0p4_ng1_bot = lib.new_cell('dev_p_w4p38_l0p4_ng1_botc0_guard0')
R(dev_p_w4p38_l0p4_ng1_bot, Activ, [(-0.54,-2.285,0.54,2.095)])
R(dev_p_w4p38_l0p4_ng1_bot, GatPoly, [(-0.2,-2.465,0.2,2.465)])
A(dev_p_w4p38_l0p4_ng1_bot, Cont, -0.47, -2.215, 0.16, 0.16, 1, 13, 0, 0.34)
A(dev_p_w4p38_l0p4_ng1_bot, Cont, 0.31, -2.215, 0.16, 0.16, 1, 13, 0, 0.34)
R(dev_p_w4p38_l0p4_ng1_bot, Cont, [(-0.08,2.235,0.08,2.395)])
R(dev_p_w4p38_l0p4_ng1_bot, Metal1, [(-0.52,-2.215,-0.26,2.025), (0.26,-2.215,0.52,2.025), (-0.39,2.21,0.39,2.42)])
R(dev_p_w4p38_l0p4_ng1_bot, Metal2, [(-0.13,2.17,0.13,2.215), (-0.39,2.215,0.39,2.415), (-0.13,2.415,0.13,2.46)])
R(dev_p_w4p38_l0p4_ng1_bot, pSD, [(-0.6,-2.685,0.6,-2.465), (-0.72,-2.465,0.72,2.275), (-0.6,2.275,0.6,2.495)])
R(dev_p_w4p38_l0p4_ng1_bot, Via1, [(-0.095,2.22,0.095,2.41)])
R(dev_p_w4p38_l0p4_ng1_bot, NWell, [(-1.16,-2.905,1.16,2.715)])
R(dev_p_w4p38_l0p4_ng1_bot, ThickGateOx, [(-0.81,-2.555,0.81,2.365)])
dev_p_w4p38_l0p4_ng1_bot.add(gdstk.Label('D', (-0.39,-0.095), layer=8, texttype=25))
dev_p_w4p38_l0p4_ng1_bot.add(gdstk.Label('S', (0.39,-0.095), layer=8, texttype=25))
dev_p_w4p38_l0p4_ng1_bot.add(gdstk.Label('G', (0,2.315), layer=8, texttype=25))

dev_n_w1p75_l0p45_ng1_gu = lib.new_cell('dev_n_w1p75_l0p45_ng1_guard0_topc0')
R(dev_n_w1p75_l0p45_ng1_gu, Activ, [(-0.565,-0.78,0.565,0.97)])
R(dev_n_w1p75_l0p45_ng1_gu, GatPoly, [(-0.225,-1.15,0.225,1.15)])
A(dev_n_w1p75_l0p45_ng1_gu, Cont, -0.495, -0.665, 0.16, 0.16, 1, 5, 0, 0.34)
A(dev_n_w1p75_l0p45_ng1_gu, Cont, 0.335, -0.665, 0.16, 0.16, 1, 5, 0, 0.34)
R(dev_n_w1p75_l0p45_ng1_gu, Cont, [(-0.08,-1.08,0.08,-0.92)])
R(dev_n_w1p75_l0p45_ng1_gu, Metal1, [(-0.415,-1.105,0.415,-0.895), (-0.545,-0.71,-0.285,0.9), (0.285,-0.71,0.545,0.9)])
R(dev_n_w1p75_l0p45_ng1_gu, Metal2, [(-0.115,-1.145,0.115,-1.1), (-0.415,-1.1,0.415,-0.9), (-0.115,-0.9,0.115,-0.855)])
R(dev_n_w1p75_l0p45_ng1_gu, Via1, [(-0.095,-1.095,0.095,-0.905)])
R(dev_n_w1p75_l0p45_ng1_gu, ThickGateOx, [(-0.835,-1.05,0.835,1.24)])
dev_n_w1p75_l0p45_ng1_gu.add(gdstk.Label('D', (-0.415,0.095), layer=8, texttype=25))
dev_n_w1p75_l0p45_ng1_gu.add(gdstk.Label('S', (0.415,0.095), layer=8, texttype=25))
dev_n_w1p75_l0p45_ng1_gu.add(gdstk.Label('G', (0,-1), layer=8, texttype=25))

predriver_stage = lib.new_cell('predriver_stage')
R(predriver_stage, Activ, [(-0.95,0.62,39.75,0.92), (-0.95,9.17,39.75,9.47)])
A(predriver_stage, Cont, -0.84, 0.69, 0.16, 0.16, 113, 2, 0.36, 8.55)
A(predriver_stage, Metal1, 2.45, 0.92, 0.26, 0.51, 6, 1, 1.56, 0)
A(predriver_stage, Metal1, 11.49, 0.92, 0.26, 0.51, 3, 1, 1.56, 0)
A(predriver_stage, Metal1, 19.89, 0.92, 0.26, 0.51, 3, 1, 2.02, 0)
A(predriver_stage, Metal1, 28.29, 0.92, 0.26, 0.51, 6, 1, 1.56, 0)
A(predriver_stage, Metal1, 2.45, 1.429, 0.26, 0.901, 6, 1, 1.56, 0)
A(predriver_stage, Metal1, 28.29, 1.429, 0.26, 0.901, 6, 1, 1.56, 0)
A(predriver_stage, Metal1, 2.2, 8.66, 0.26, 0.51, 6, 1, 1.66, 0)
A(predriver_stage, Metal1, 11.39, 8.66, 0.26, 0.51, 3, 1, 1.66, 0)
A(predriver_stage, Metal1, 23.83, 8.66, 0.26, 0.51, 3, 1, 1.66, 0)
A(predriver_stage, Metal1, 28.04, 8.66, 0.26, 0.51, 6, 1, 1.66, 0)
R(predriver_stage, Metal1, [(-1.5,0.62,0.65,2.92), (-0.95,0.62,39.75,0.92), (38.15,0.62,40.3,2.92), (16.63,0.92,16.89,1.43), (18.65,0.92,18.91,1.43), (25.49,0.92,25.75,1.43), (27.05,0.92,27.31,1.43), (12.27,1.38,12.53,1.43), (13.83,1.38,14.09,1.43), (24.71,1.38,24.97,1.43), (26.27,1.38,26.53,1.43), (17.43,1.43,17.845,5.67), (17.845,1.43,17.87,5.67), (20.93,1.43,20.955,5.67), (20.955,1.43,21.37,5.67), (17.43,5.67,17.795,7.05), (21.005,5.67,21.37,7.05), (17.43,7.05,17.845,8.66), (20.955,7.05,21.37,8.66), (-0.31,7.17,0.65,9.47), (38.15,7.17,39.11,9.47), (16.655,8.66,16.915,9.17), (18.675,8.66,18.935,9.17), (19.865,8.66,20.125,9.17), (21.885,8.66,22.145,9.17), (-0.95,9.17,39.75,9.47)])
R(predriver_stage, Metal1_pin, [(-0.95,0.62,39.75,0.92), (-0.95,9.17,39.75,9.47)])
R(predriver_stage, Metal2, [(0.9,-1.69,6.9,0), (31.9,-1.69,37.9,0), (0.9,0,1.5,8.635), (0.9,0,6.9,1.47), (1.5,0,1.9,1.47), (31.9,0,37.9,1.47), (36.9,0,37.3,1.47), (37.3,0,37.9,8.635), (-1.5,0.62,0.65,2.92), (38.15,0.62,40.3,2.92), (1.5,1.37,9.83,5.225), (1.5,1.37,1.9,8.635), (12.205,1.37,14.155,4.22), (24.645,1.37,26.595,4.22), (28.97,1.37,37.3,5.225), (36.9,1.37,37.3,8.635), (10.5,1.38,12.205,4.22), (26.595,1.38,28.3,4.22), (10.5,1.415,10.85,7.84), (10.85,1.415,11.15,7.84), (27.65,1.415,27.95,7.84), (27.95,1.415,28.3,7.84), (14.84,1.465,15.16,4.61), (15.16,1.465,15.785,3.495), (15.785,1.465,16.175,3.495), (22.625,1.465,23.015,3.495), (23.015,1.465,23.64,3.495), (23.64,1.465,23.96,4.61), (15.16,3.495,15.65,7.425), (23.15,3.495,23.64,7.425), (18.18,3.795,19.6,5.43), (17.79,3.81,18.18,5.43), (15.955,4.075,16.785,4.12), (22.015,4.075,22.845,4.12), (15.955,4.12,16.785,6.81), (22.015,4.12,22.845,6.81), (11.52,4.565,15.16,4.61), (23.64,4.565,27.28,4.61), (11.52,4.61,14.84,7.36), (14.84,4.61,15.16,7.36), (23.64,4.61,23.96,7.36), (23.96,4.61,27.28,7.36), (2.33,5.435,10.5,5.48), (28.3,5.435,36.47,5.48), (2.33,5.48,10.63,6.81), (28.17,5.48,36.47,6.81), (17.975,5.86,18.805,6.66), (19.995,5.86,20.825,6.66), (16.345,6.99,16.785,7.04), (22.015,6.99,22.455,7.04), (2.33,7.01,10.5,7.055), (15.955,7.01,16.345,7.08), (22.455,7.01,22.845,7.08), (28.3,7.01,36.47,7.055), (16.345,7.015,16.785,9.74), (22.015,7.015,22.455,9.74), (19.225,7.115,20.645,8.715), (20.645,7.115,21.035,8.715), (-0.31,7.17,0.65,9.47), (38.15,7.17,39.11,9.47), (11.52,7.36,14.84,7.405), (14.84,7.36,15.16,7.425), (23.64,7.36,23.96,7.425), (23.96,7.36,27.28,7.405), (1.5,7.425,3.015,8.635), (2.965,7.425,9.995,8.635), (14.84,7.425,15.76,8.635), (15.76,7.425,16.13,8.635), (22.67,7.425,23.04,8.635), (23.04,7.425,23.96,8.635), (28.805,7.425,35.835,8.635), (35.785,7.425,37.3,8.635), (10.5,7.84,12.155,8.64), (12.155,7.84,14.205,8.64), (24.595,7.84,26.645,8.64), (26.645,7.84,28.3,8.64)])
R(predriver_stage, Metal2_pin, [(0.9,-1.69,6.9,-1.29), (31.9,-1.69,37.9,-1.29), (16.345,9.34,16.785,9.74), (22.015,9.34,22.455,9.74)])
R(predriver_stage, pSD, [(-0.98,9.14,39.78,9.5)])
A(predriver_stage, Via1, -1.24, 0.855, 0.19, 0.19, 4, 5, 0.48, 0.41)
A(predriver_stage, Via1, 38.41, 0.855, 0.19, 0.19, 4, 5, 0.48, 0.41)
A(predriver_stage, Via1, 12.305, 1.47, 0.19, 0.19, 1, 7, 0, 0.41)
A(predriver_stage, Via1, 13.865, 1.47, 0.19, 0.19, 1, 7, 0, 0.41)
A(predriver_stage, Via1, 24.745, 1.47, 0.19, 0.19, 1, 7, 0, 0.41)
A(predriver_stage, Via1, 26.305, 1.47, 0.19, 0.19, 1, 7, 0, 0.41)
A(predriver_stage, Via1, 15.885, 1.565, 0.19, 0.19, 1, 5, 0, 0.41)
A(predriver_stage, Via1, 22.725, 1.565, 0.19, 0.19, 1, 5, 0, 0.41)
A(predriver_stage, Via1, 3.265, 2.41, 0.19, 0.19, 5, 7, 1.56, 0.41)
A(predriver_stage, Via1, 29.105, 2.41, 0.19, 0.19, 5, 7, 1.56, 0.41)
A(predriver_stage, Via1, 17.89, 3.91, 0.19, 0.19, 1, 4, 0, 0.41)
A(predriver_stage, Via1, 20.745, 7.195, 0.19, 0.19, 1, 4, 0, 0.41)
A(predriver_stage, Via1, -0.105, 7.24, 0.19, 0.19, 1, 5, 0, 0.46)
A(predriver_stage, Via1, 0.305, 7.24, 0.19, 0.19, 1, 5, 0, 0.46)
A(predriver_stage, Via1, 38.355, 7.24, 0.19, 0.19, 1, 5, 0, 0.46)
A(predriver_stage, Via1, 38.765, 7.24, 0.19, 0.19, 1, 5, 0, 0.46)
A(predriver_stage, Via1, 3.065, 7.525, 0.19, 0.19, 5, 3, 1.66, 0.41)
A(predriver_stage, Via1, 15.86, 7.525, 0.19, 0.19, 1, 3, 0, 0.41)
A(predriver_stage, Via1, 22.75, 7.525, 0.19, 0.19, 1, 3, 0, 0.41)
A(predriver_stage, Via1, 28.905, 7.525, 0.19, 0.19, 5, 3, 1.66, 0.41)
R(predriver_stage, Via1, [(12.255,7.94,12.445,8.13), (13.915,7.94,14.105,8.13), (24.695,7.94,24.885,8.13), (26.355,7.94,26.545,8.13), (12.255,8.35,12.445,8.54), (13.915,8.35,14.105,8.54), (24.695,8.35,24.885,8.54), (26.355,8.35,26.545,8.54)])
A(predriver_stage, Via2, 19.31, 3.91, 0.19, 0.19, 1, 4, 0, 0.41)
A(predriver_stage, Via2, 19.325, 7.195, 0.19, 0.19, 1, 4, 0, 0.41)
R(predriver_stage, Via2, [(10.74,6.06,10.93,6.25), (18.295,6.06,18.485,6.25), (20.315,6.06,20.505,6.25), (27.87,6.06,28.06,6.25), (10.74,6.47,10.93,6.66), (18.295,6.47,18.485,6.66), (20.315,6.47,20.505,6.66), (27.87,6.47,28.06,6.66)])
R(predriver_stage, Metal3, [(19.21,3.795,19.6,5.43), (10.5,5.855,17.975,6.865), (17.975,5.855,18.805,6.865), (19.995,5.855,20.825,6.865), (20.825,5.855,28.3,6.865), (19.225,7.095,19.615,8.715)])
P(predriver_stage, Metal3, [(17.43,6.865),(17.43,8.715),(19.225,8.715),(19.225,7.095),(18.805,7.095),(18.805,6.865)],
  [(19.6,3.795),(19.6,5.43),(19.995,5.43),(19.995,5.855),(21.37,5.855),(21.37,3.795)])
R(predriver_stage, NWell, [(-1.57,-1.69,40.37,0), (-1.57,0,40.37,6.36)])
R(predriver_stage, ThickGateOx, [(-1.22,0.35,40.02,9.74)])
predriver_stage.add(gdstk.Reference(dev_p_w2p64_l0p4_ng1_bot, (16.37,2.775)))
predriver_stage.add(gdstk.Reference(dev_p_w2p64_l0p4_ng1_bot, (22.43,2.775), rotation=pi, x_reflection=True))
predriver_stage.add(gdstk.Reference(dev_n_w1p6_l0p45_ng1_gua, (16.37,7.835)))
predriver_stage.add(gdstk.Reference(dev_n_w1p6_l0p45_ng1_gua, (22.43,7.835), rotation=pi, x_reflection=True))
predriver_stage.add(gdstk.Reference(dev_p_w3p13_l0p4_ng4_bot, (13.18,3.02)))
predriver_stage.add(gdstk.Reference(dev_p_w3p13_l0p4_ng4_bot, (25.62,3.02), rotation=pi, x_reflection=True))
predriver_stage.add(gdstk.Reference(dev_n_w1p25_l0p45_ng4_gu, (13.18,8.01)))
predriver_stage.add(gdstk.Reference(dev_n_w1p25_l0p45_ng4_gu, (25.62,8.01), rotation=pi, x_reflection=True))
predriver_stage.add(gdstk.Reference(dev_p_w3p2_l0p4_ng10_bot, (6.48,3.855)))
predriver_stage.add(gdstk.Reference(dev_p_w3p2_l0p4_ng10_bot, (32.32,3.855), rotation=pi, x_reflection=True))
predriver_stage.add(gdstk.Reference(dev_n_w1p6_l0p45_ng10_gu, (6.48,7.835)))
predriver_stage.add(gdstk.Reference(dev_n_w1p6_l0p45_ng10_gu, (32.32,7.835), rotation=pi, x_reflection=True))
predriver_stage.add(gdstk.Reference(dev_p_w4p38_l0p4_ng1_bot, (20.41,3.645), rotation=pi, x_reflection=True))
predriver_stage.add(gdstk.Reference(dev_p_w4p38_l0p4_ng1_bot, (18.39,3.645)))
predriver_stage.add(gdstk.Reference(dev_n_w1p75_l0p45_ng1_gu, (20.41,7.76), rotation=pi, x_reflection=True))
predriver_stage.add(gdstk.Reference(dev_n_w1p75_l0p45_ng1_gu, (18.39,7.76)))
predriver_stage.add(gdstk.Label('Va', (19.4,0.77), layer=8, texttype=25))
predriver_stage.add(gdstk.Label('Vss', (19.4,9.32), layer=8, texttype=25))
predriver_stage.add(gdstk.Label('Out_p', (3.9,-1.49), layer=10, texttype=25))
predriver_stage.add(gdstk.Label('Out_n', (34.9,-1.49), layer=10, texttype=25))
predriver_stage.add(gdstk.Label('In_n', (22.235,9.54), layer=10, texttype=25))
predriver_stage.add(gdstk.Label('In_p', (16.565,9.54), layer=10, texttype=25))

predriver = lib.new_cell('predriver')
R(predriver, Activ, [(6.26,12.56,6.43,16.04)])
R(predriver, Metal1, [(6.19,12.63,6.5,15.97), (5.47,12.975,5.73,13.37), (2.79,13.37,3.09,15.23), (5.47,15.23,5.73,15.625), (19.3,20.3,19.7,22.39)])
R(predriver, Metal2, [(0.9,0,6.9,0.4), (31.9,0,37.9,0.4), (-1.55,2.31,-0.55,26.3), (39.35,2.31,40.35,26.3), (-0.31,10,0.65,10.4), (-0.31,10.57,16.1,12.65), (22.7,10.57,39.11,12.65), (17.03,10.65,21.77,12.65), (7.52,10.865,8.32,11.74), (10.84,10.865,11.64,11.74), (15.18,10.865,15.98,11.74), (23.02,10.865,23.82,11.74), (27.36,10.865,28.16,11.74), (30.68,10.865,31.48,11.74), (19,12.975,20,13.18), (19.3,12.975,19.7,20.59), (19.3,22.1,19.7,28.2), (-1.55,24.4,6.4,26.3), (32.6,24.4,40.35,26.3), (18.75,27.95,19.05,28.25), (19.95,27.95,20.25,28.25), (18.8,28,19,28.2), (20,28,20.2,28.2)])
R(predriver, Metal2_pin, [(0.9,0,6.9,0.4), (31.9,0,37.9,0.4), (-0.31,10,0.65,10.4), (-1.55,20,-0.55,20.4), (19.3,27.8,19.7,28.2), (18.8,28,19,28.2), (20,28,20.2,28.2)])
R(predriver, pSD, [(6.29,12.53,6.4,16.07)])
A(predriver, Via1, 0.98, 10.915, 0.19, 0.19, 16, 1, 0.41, 0)
A(predriver, Via1, 8.77, 10.915, 0.19, 0.19, 5, 1, 0.41, 0)
A(predriver, Via1, 12.05, 10.915, 0.19, 0.19, 7, 1, 0.41, 0)
A(predriver, Via1, 17.09, 10.915, 0.19, 0.19, 11, 1, 0.41, 0)
A(predriver, Via1, 23.99, 10.915, 0.19, 0.19, 8, 1, 0.41, 0)
A(predriver, Via1, 28.5, 10.915, 0.19, 0.19, 5, 1, 0.41, 0)
A(predriver, Via1, 31.78, 10.915, 0.19, 0.19, 16, 1, 0.41, 0)
R(predriver, Via1, [(7.62,10.915,7.81,11.105), (8.03,10.915,8.22,11.105), (10.94,10.915,11.13,11.105), (11.35,10.915,11.54,11.105), (15.28,10.915,15.47,11.105), (15.69,10.915,15.88,11.105), (23.12,10.915,23.31,11.105), (23.53,10.915,23.72,11.105), (27.46,10.915,27.65,11.105), (27.87,10.915,28.06,11.105), (30.78,10.915,30.97,11.105), (31.19,10.915,31.38,11.105), (19.405,20.35,19.595,20.54), (19.405,22.15,19.595,22.34)])
A(predriver, Via2, 7.62, 11.5, 0.19, 0.19, 1, 3, 0, 0.41)
A(predriver, Via2, 8.03, 11.5, 0.19, 0.19, 1, 3, 0, 0.41)
A(predriver, Via2, 10.94, 11.5, 0.19, 0.19, 1, 3, 0, 0.41)
A(predriver, Via2, 11.35, 11.5, 0.19, 0.19, 1, 3, 0, 0.41)
A(predriver, Via2, 15.28, 11.5, 0.19, 0.19, 1, 3, 0, 0.41)
A(predriver, Via2, 15.69, 11.5, 0.19, 0.19, 1, 3, 0, 0.41)
A(predriver, Via2, 23.12, 11.5, 0.19, 0.19, 1, 3, 0, 0.41)
A(predriver, Via2, 23.53, 11.5, 0.19, 0.19, 1, 3, 0, 0.41)
A(predriver, Via2, 27.46, 11.5, 0.19, 0.19, 1, 3, 0, 0.41)
A(predriver, Via2, 27.87, 11.5, 0.19, 0.19, 1, 3, 0, 0.41)
A(predriver, Via2, 30.78, 11.5, 0.19, 0.19, 1, 3, 0, 0.41)
A(predriver, Via2, 31.19, 11.5, 0.19, 0.19, 1, 3, 0, 0.41)
A(predriver, Via2, 7.62, 14.21, 0.19, 0.19, 1, 3, 0, 0.41)
A(predriver, Via2, 8.03, 14.21, 0.19, 0.19, 1, 3, 0, 0.41)
A(predriver, Via2, 10.94, 14.21, 0.19, 0.19, 1, 3, 0, 0.41)
A(predriver, Via2, 11.35, 14.21, 0.19, 0.19, 1, 3, 0, 0.41)
A(predriver, Via2, 15.28, 14.21, 0.19, 0.19, 1, 3, 0, 0.41)
A(predriver, Via2, 15.69, 14.21, 0.19, 0.19, 1, 3, 0, 0.41)
A(predriver, Via2, 23.12, 14.21, 0.19, 0.19, 1, 3, 0, 0.41)
A(predriver, Via2, 23.53, 14.21, 0.19, 0.19, 1, 3, 0, 0.41)
A(predriver, Via2, 27.46, 14.21, 0.19, 0.19, 1, 3, 0, 0.41)
A(predriver, Via2, 27.87, 14.21, 0.19, 0.19, 1, 3, 0, 0.41)
A(predriver, Via2, 30.78, 14.21, 0.19, 0.19, 1, 3, 0, 0.41)
A(predriver, Via2, 31.19, 14.21, 0.19, 0.19, 1, 3, 0, 0.41)
R(predriver, Via2, [(16.47,11.035,16.66,11.225), (22.14,11.035,22.33,11.225), (18.755,20.885,18.945,21.075), (20.055,21.675,20.245,21.865)])
R(predriver, Metal3, [(16.345,10.9,18.2,11.35), (17.7,10.9,18.2,19.3), (20.8,10.9,21.3,19.3), (20.8,10.9,22.455,11.35), (7.52,11.45,8.32,15.27), (10.84,11.45,11.64,15.27), (15.18,11.45,15.98,15.27), (23.02,11.45,23.82,15.27), (27.36,11.45,28.16,15.27), (30.68,11.45,31.48,15.27), (18.705,20.88,19,21.08), (18.8,20.88,19,21.08), (20,21.67,20.2,21.87), (20,21.67,20.295,21.87)])
predriver.add(gdstk.FlexPath([(19,21.77),(19.5,21.77),(19.5,20.98),(20,20.98),(20,20.98)], 0.2, ends="flush", simple_path=True, layer=10, datatype=0))  # Metal2
predriver.add(gdstk.FlexPath([(18.9,21.87),(18.9,28)], 0.2, ends="flush", simple_path=True, layer=10, datatype=0))  # Metal2
predriver.add(gdstk.FlexPath([(20.1,21.87),(20.1,28)], 0.2, ends="flush", simple_path=True, layer=10, datatype=0))  # Metal2
predriver.add(gdstk.FlexPath([(7.09,13.08),(6.1,13.08)], 0.2, ends="flush", simple_path=True, layer=10, datatype=0))  # Metal2
predriver.add(gdstk.FlexPath([(6.1,13.08),(5.6,13.08)], 0.2, ends="flush", simple_path=True, layer=10, datatype=0))  # Metal2
predriver.add(gdstk.FlexPath([(20,21.77),(19.5,21.77),(19.5,20.98),(19,20.98),(19,20.98)], 0.2, ends="flush", simple_path=True, layer=30, datatype=0))  # Metal3
predriver.add(gdstk.Reference(dev_n_w2_l2_ng1, (4.41,14.3)))
predriver.add(gdstk.Reference(predriver_comp, (6.12,12.25)))
predriver.add(gdstk.Reference(predriver_comp, (32.88,12.25), rotation=pi, x_reflection=True))
predriver.add(gdstk.Reference(predriver_stage, (0,1.69)))
predriver.add(gdstk.Label('In_p', (3.9,0.2), layer=10, texttype=25))
predriver.add(gdstk.Label('In_n', (34.9,0.2), layer=10, texttype=25))
predriver.add(gdstk.Label('D_n', (18.9,28.1), layer=10, texttype=25))
predriver.add(gdstk.Label('Iref', (19.5,28), layer=10, texttype=25))
predriver.add(gdstk.Label('Vss', (0.17,10.2), layer=10, texttype=25))
predriver.add(gdstk.Label('Va', (-1.05,20.2), layer=10, texttype=25))
predriver.add(gdstk.Label('D_p', (20.1,28.1), layer=10, texttype=25))

lib.write_gds('predriver.gds')
